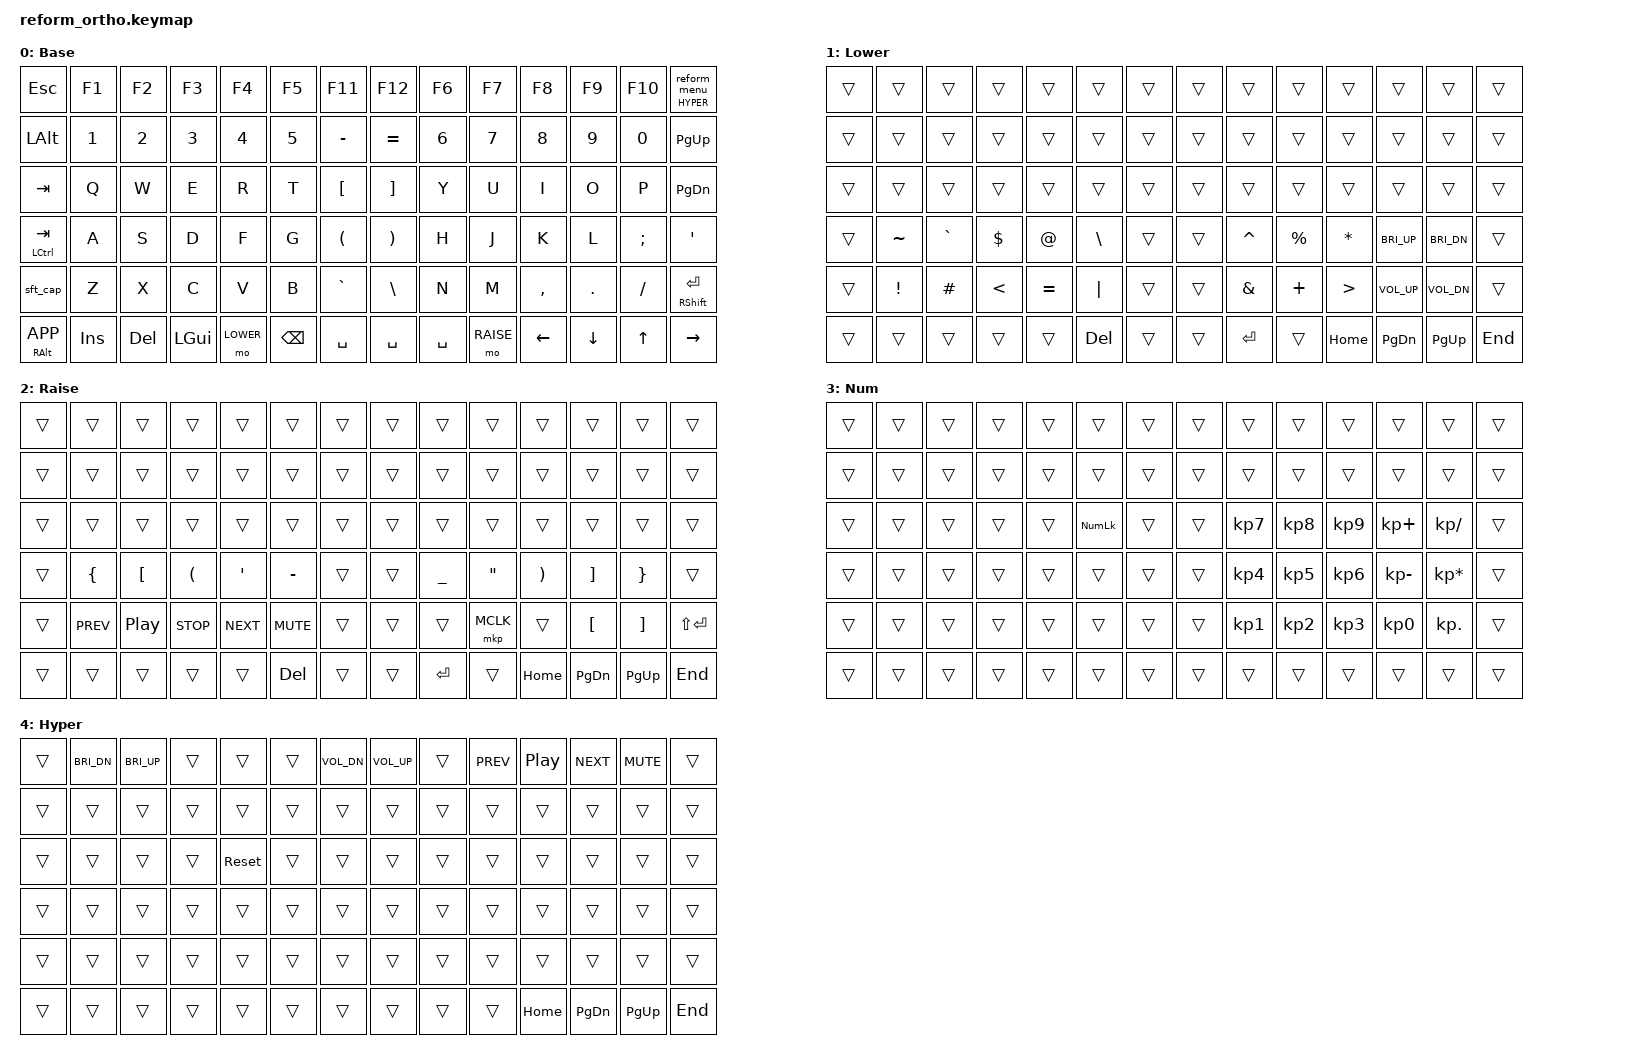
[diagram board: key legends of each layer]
/*
  SPDX-License-Identifier: GPL-3.0-or-later

  Personal reform_ortho keymap: the i2c-yoba-key64 Planck layout extended to 14x6.
  Planck left half -> columns 0-5, right half -> columns 8-13, on rows 2-5.
*/

#include <behaviors.dtsi>
#if CONFIG_MNT_REFORM_MODE == 0 /* MNT_REFORM_MODE_STANDALONE */
#include <behaviors/reform_menu_standalone.dtsi>
#else
#include <behaviors/reform_menu.dtsi>
#endif
#include <behaviors/reform_sysctrl.dtsi>
#include <dt-bindings/zmk/keys.h>
#include <dt-bindings/zmk/hid_indicators.h>
#include <dt-bindings/zmk/mouse.h>

// No underglow: the LEDs are indicators, so drop the menu's key-LED items
&reform_menu {
#if CONFIG_MNT_REFORM_MODE == 0 /* MNT_REFORM_MODE_STANDALONE */
    /delete-node/ item1;
    /delete-node/ item2;
    /delete-node/ item3;
    /delete-node/ item4;
    /delete-node/ item5;
    /delete-node/ item6;
#else
    /delete-node/ item4;
    /delete-node/ item5;
    /delete-node/ item6;
    /delete-node/ item7;
    /delete-node/ item8;
    /delete-node/ item9;
#endif
};

#define BASE  0
#define LOWER 1
#define RAISE 2
#define NUM   3
#define HYPER 4

#define ___ &trans

/ {
    // LED 0 is the top one (row 0); unclaimed channels belong to the host
    led_indicators {
        compatible = "mnt,led-indicators";
        led-strip = <&led_strip>;

        caps   { led = <0>; color = <0x400000>; hid-indicators = <HID_INDICATOR_CAPS_LOCK>; };
        num    { led = <0>; color = <0x004000>; hid-indicators = <HID_INDICATOR_NUM_LOCK>; };
        scroll { led = <0>; color = <0x000040>; hid-indicators = <HID_INDICATOR_SCROLL_LOCK>; };
        lower  { led = <1>; color = <0x400000>; layers = <LOWER>; };
        raise  { led = <1>; color = <0x004000>; layers = <RAISE>; };
        numpad { led = <1>; color = <0x000040>; layers = <NUM>; };
    };

    behaviors {
        // QMK-style mod-tap: hold as soon as another key is pressed, or past the tapping term
        qmt: qmk_mod_tap {
            compatible = "zmk,behavior-hold-tap";
            #binding-cells = <2>;
            flavor = "hold-preferred";
            tapping-term-ms = <200>;
            quick-tap-ms = <200>;
            bindings = <&kp>, <&kp>;
        };

        // Circle: clean tap opens the menu, anything chorded with it is Hyper
        circ: circle_hyper {
            compatible = "zmk,behavior-hold-tap";
            #binding-cells = <2>;
            flavor = "hold-preferred";
            tapping-term-ms = <200>;
            retro-tap;
            bindings = <&mo>, <&reform_menu>;
        };

        // Second tap within the term toggles Caps Lock; a single tap does nothing
        dbl_caps: double_tap_caps {
            compatible = "zmk,behavior-tap-dance";
            #binding-cells = <0>;
            tapping-term-ms = <200>;
            bindings = <&none>, <&caps_unshifted>;
        };
    };

    macros {
        // Caps Lock without Shift: drop the Shift sft_cap already pressed, then tap Caps
        caps_unshifted: caps_unshifted {
            compatible = "zmk,behavior-macro";
            #binding-cells = <0>;
            wait-ms = <0>;
            bindings = <&macro_release &kp LSHFT>, <&macro_tap &kp CAPS>;
        };

        // Shift goes down at once (so Shift+click works); double tap also toggles Caps Lock
        sft_cap: shift_caps {
            compatible = "zmk,behavior-macro";
            #binding-cells = <0>;
            wait-ms = <0>;
            bindings
                = <&macro_press &kp LSHFT &dbl_caps>
                , <&macro_pause_for_release>
                , <&macro_release &kp LSHFT &dbl_caps>
                ;
        };
    };

    keymap {
        compatible = "zmk,keymap";

        // Esc    F1  F2  F3  F4  F5 | F11  F12 | F6  F7  F8  F9  F10  Circ/Hyper
        // Alt    1   2   3   4   5  |  -    =  | 6   7   8   9   0    PgUp
        // Tab    Q   W   E   R   T  |  [    ]  | Y   U   I   O   P    PgDn
        // Ct/Tab A   S   D   F   G  |  (    )  | H   J   K   L   ;    '
        // Sh/Cap Z   X   C   V   B  |  `    \  | N   M   ,   .   /    Sh/Ent
        // Cmp/L3 Ins Del GUI Lwr Bsp| Spc  Spc | Spc Rse Left Down Up Right
        base {
            display-name = "Base";
            bindings = <
&kp ESC           &kp F1    &kp F2    &kp F3    &kp F4    &kp F5     &kp F11    &kp F12    &kp F6    &kp F7      &kp F8    &kp F9    &kp F10   &circ HYPER 0
&kp LALT          &kp N1    &kp N2    &kp N3    &kp N4    &kp N5     &kp MINUS  &kp EQUAL  &kp N6    &kp N7      &kp N8    &kp N9    &kp N0    &kp PG_UP
&kp TAB           &kp Q     &kp W     &kp E     &kp R     &kp T      &kp LBKT   &kp RBKT   &kp Y     &kp U       &kp I     &kp O     &kp P     &kp PG_DN
&qmt LCTRL TAB    &kp A     &kp S     &kp D     &kp F     &kp G      &kp LPAR   &kp RPAR   &kp H     &kp J       &kp K     &kp L     &kp SEMI  &kp SQT
&sft_cap          &kp Z     &kp X     &kp C     &kp V     &kp B      &kp GRAVE  &kp BSLH   &kp N     &kp M       &kp COMMA &kp DOT   &kp FSLH  &qmt RSHFT ENTER
&qmt RALT K_APP   &kp INS   &kp DEL   &kp LGUI  &mo LOWER &kp BSPC   &kp SPACE  &kp SPACE  &kp SPACE &mo RAISE   &kp LEFT  &kp DOWN  &kp UP    &kp RIGHT
            >;
        };

        // Planck Lower; its F-key row and F11/F12 moved to the base F-row
        lower {
            display-name = "Lower";
            bindings = <
___       ___       ___       ___       ___       ___        ___        ___        ___       ___         ___       ___       ___       ___
___       ___       ___       ___       ___       ___        ___        ___        ___       ___         ___       ___       ___       ___
___       ___       ___       ___       ___       ___        ___        ___        ___       ___         ___       ___       ___       ___
___       &kp TILDE &kp GRAVE &kp DLLR  &kp AT    &kp BSLH   ___        ___        &kp CARET &kp PRCNT   &kp STAR  &kp C_BRI_UP &kp C_BRI_DN ___
___       &kp EXCL  &kp HASH  &kp LT    &kp EQUAL &kp PIPE   ___        ___        &kp AMPS  &kp PLUS    &kp GT    &kp C_VOL_UP &kp C_VOL_DN ___
___       ___       ___       ___       ___       &kp DEL    ___        ___        &kp ENTER ___         &kp HOME  &kp PG_DN &kp PG_UP &kp END
            >;
        };

        // Planck Raise; its digit row moved to the base digit row
        raise {
            display-name = "Raise";
            bindings = <
___       ___       ___       ___       ___       ___        ___        ___        ___       ___         ___       ___       ___       ___
___       ___       ___       ___       ___       ___        ___        ___        ___       ___         ___       ___       ___       ___
___       ___       ___       ___       ___       ___        ___        ___        ___       ___         ___       ___       ___       ___
___       &kp LBRC  &kp LBKT  &kp LPAR  &kp SQT   &kp MINUS  ___        ___        &kp UNDER &kp DQT     &kp RPAR  &kp RBKT  &kp RBRC  ___
___       &kp C_PREV &kp C_PP &kp C_STOP &kp C_NEXT &kp C_MUTE ___      ___        ___       &mkp MCLK   ___       &kp LBKT &kp RBKT &kp LS(ENTER)
___       ___       ___       ___       ___       &kp DEL    ___        ___        &kp ENTER ___         &kp HOME  &kp PG_DN &kp PG_UP &kp END
            >;
        };

        // Planck Num toggle
        num {
            display-name = "Num";
            bindings = <
___       ___       ___       ___       ___       ___        ___        ___        ___       ___         ___       ___       ___       ___
___       ___       ___       ___       ___       ___        ___        ___        ___       ___         ___       ___       ___       ___
___       ___       ___       ___       ___       &kp KP_NUM ___ ___   &kp KP_N7 &kp KP_N8   &kp KP_N9 &kp KP_PLUS &kp KP_SLASH ___
___       ___       ___       ___       ___       ___        ___        ___        &kp KP_N4 &kp KP_N5   &kp KP_N6 &kp KP_MINUS &kp KP_MULTIPLY ___
___       ___       ___       ___       ___       ___        ___        ___        &kp KP_N1 &kp KP_N2   &kp KP_N3 &kp KP_N0 &kp KP_DOT ___
___       ___       ___       ___       ___       ___        ___        ___        ___       ___         ___       ___       ___       ___
            >;
        };

        // MNT stock Hyper: screen brightness, media and volume on the F-keys, arrows -> Home/PgDn/PgUp/End;
        // plus the menu's reset (R); bootloader is menu-only
        hyper {
            display-name = "Hyper";
            bindings = <
___              &kp C_BRI_DN     &kp C_BRI_UP     ___              ___              ___              &kp C_VOL_DN     &kp C_VOL_UP     ___              &kp C_PREV       &kp C_PP         &kp C_NEXT       &kp C_MUTE       ___
___              ___              ___              ___              ___              ___              ___              ___              ___              ___              ___              ___              ___              ___
___              ___              ___              ___              &sys_reset       ___              ___              ___              ___              ___              ___              ___              ___              ___
___              ___              ___              ___              ___              ___              ___              ___              ___              ___              ___              ___              ___              ___
___              ___              ___              ___              ___              ___              ___              ___              ___              ___              ___              ___              ___              ___
___              ___              ___              ___              ___              ___              ___              ___              ___              ___              &kp HOME         &kp PG_DN        &kp PG_UP        &kp END
            >;
        };

        extra1 {
            status = "reserved";
        };

        extra2 {
            status = "reserved";
        };

        extra3 {
            status = "reserved";
        };
    };
};
